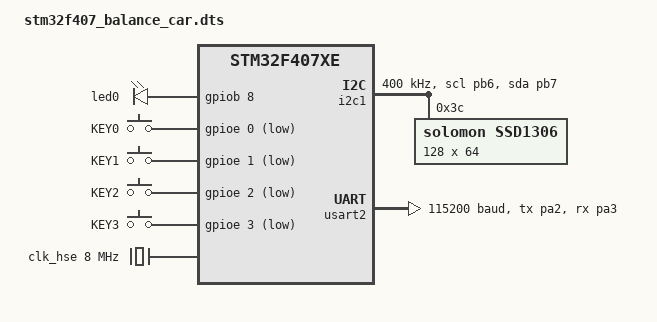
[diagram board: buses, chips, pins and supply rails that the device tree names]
/dts-v1/;

#include <arm/armv7-m.dtsi>
#include <st/f4/stm32f407Xe.dtsi>
#include <st/f4/stm32f407z(e-g)tx-pinctrl.dtsi>

#include <dt-bindings/gpio/gpio.h>
#include <dt-bindings/i2c/i2c.h>
#include <dt-bindings/input/input-event-codes.h>
#include <dt-bindings/clock/stm32f4_clock.h>
#include <dt-bindings/pwm/pwm.h>
#include <dt-bindings/pwm/stm32_pwm.h>
#include <dt-bindings/dma/stm32_dma.h>
#include <dt-bindings/reset/stm32f2_4_7_reset.h>
#include <dt-bindings/sensor/qdec_stm32.h>
#include <dt-bindings/power/stm32_pwr.h>

/ {
	leds {
		compatible = "gpio-leds";
		led0: led_0 {
			gpios = <&gpiob 8 GPIO_ACTIVE_HIGH>;
		};
	};

	keys {
		compatible = "gpio-keys";
		key0: key_0{
			gpios = <&gpioe 0 (GPIO_PULL_UP | GPIO_ACTIVE_LOW)>;
			label = "KEY0";
			zephyr,code = <INPUT_KEY_0>;
		};

		key1: key_1{
			gpios = <&gpioe 1 (GPIO_PULL_UP | GPIO_ACTIVE_LOW)>;
			label = "KEY1";
			zephyr,code = <INPUT_KEY_1>;
		};

		key2: key_2{
			gpios = <&gpioe 2 (GPIO_PULL_UP | GPIO_ACTIVE_LOW)>;
			label = "KEY2";
			zephyr,code = <INPUT_KEY_2>;
		};

		key3: key_3{
			gpios = <&gpioe 3 (GPIO_PULL_UP | GPIO_ACTIVE_LOW)>;
			label = "KEY3";
			zephyr,code = <INPUT_KEY_3>;
		};
	};

	aliases {
		led0 = &led0;
	};
	chosen {
		zephyr,sram = &sram0;
		zephyr,flash = &flash0;
		zephyr,display = &ssd1306;
		zephyr,console = &usart2;
	};
};

&led0 {
	status = "okay";
};

&clk_lsi {
	status = "okay";
};

&clk_hse {
	clock-frequency = <DT_FREQ_M(8)>;
	status = "okay";
};

&pll {
	div-m = <8>;
	mul-n = <336>;
	div-p = <2>;
	div-q = <7>;
	clocks = <&clk_hse>;
	status = "okay";
};

&rcc {
	clocks = <&pll>;
	clock-frequency = <DT_FREQ_M(168)>;
	ahb-prescaler = <1>;
	apb1-prescaler = <4>;
	apb2-prescaler = <2>;
};

&i2c1 {
	clock-frequency = <I2C_BITRATE_FAST>;
	pinctrl-0 = <&i2c1_scl_pb6 &i2c1_sda_pb7>;
	pinctrl-names = "default";
	status = "okay";

	ssd1306: ssd1306@3c {
		compatible = "solomon,ssd1306";
		reg = <0x3c>;
		width = <128>;
		height = <64>;

		segment-offset = <0>;
		page-offset = <0>;
		display-offset = <0>;
		multiplex-ratio = <63>;

		segment-remap;
		com-invdir;
		prechargep = <0x22>;
	};
};

&dma1 {
	status = "okay";
};

&usart2 {
	pinctrl-0 = <&usart2_tx_pa2 &usart2_rx_pa3>;
	pinctrl-names = "default";
	current-speed = <115200>;
	dmas = <&dma1 6 4 STM32_DMA_PERIPH_TX STM32_DMA_FIFO_FULL>,
	       <&dma1 5 4 STM32_DMA_PERIPH_RX STM32_DMA_FIFO_FULL>;
	dma-names = "tx", "rx";
	status = "okay";
};
